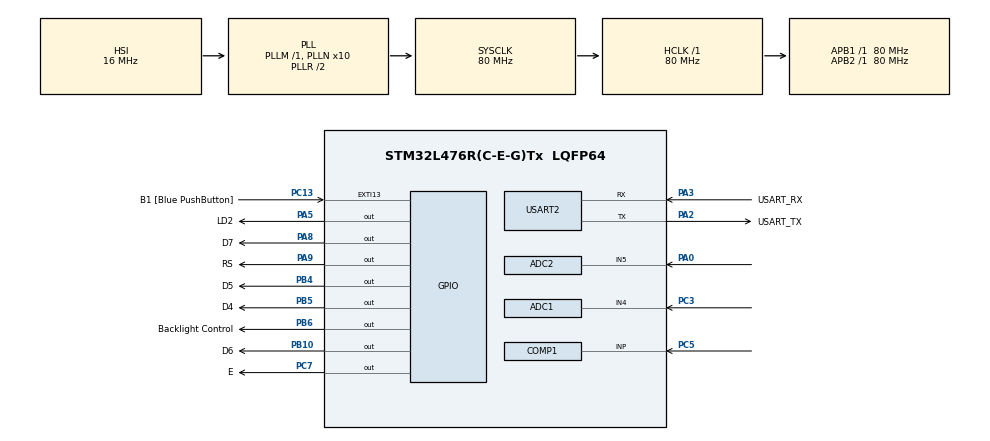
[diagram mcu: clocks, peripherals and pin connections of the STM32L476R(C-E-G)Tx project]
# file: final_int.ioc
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ADC1.Channel-6\#ChannelRegularConversion=ADC_CHANNEL_4
ADC1.ClockPrescaler=ADC_CLOCK_ASYNC_DIV64
ADC1.ContinuousConvMode=ENABLE
ADC1.DMAContinuousRequests=ENABLE
ADC1.NbrOfConversion=1
ADC1.NbrOfConversionFlag=1
ADC1.OffsetNumber-6\#ChannelRegularConversion=ADC_OFFSET_NONE
ADC1.Rank-6\#ChannelRegularConversion=1
ADC1.SamplingTime-6\#ChannelRegularConversion=ADC_SAMPLETIME_24CYCLES_5
ADC1.master=1
ADC2.Channel-0\#ChannelRegularConversion=ADC_CHANNEL_5
ADC2.ClockPrescaler=ADC_CLOCK_ASYNC_DIV64
ADC2.NbrOfConversionFlag=1
ADC2.OffsetNumber-0\#ChannelRegularConversion=ADC_OFFSET_NONE
ADC2.Rank-0\#ChannelRegularConversion=1
ADC2.SamplingTime-0\#ChannelRegularConversion=ADC_SAMPLETIME_2CYCLES_5
COMP1.Hysteresis=COMP_HYSTERESIS_HIGH
COMP1.TriggerMode=COMP_TRIGGERMODE_IT_RISING
Dma.ADC1.0.Direction=DMA_PERIPH_TO_MEMORY
Dma.ADC1.0.Instance=DMA1_Channel1
Dma.ADC1.0.MemDataAlignment=DMA_MDATAALIGN_WORD
Dma.ADC1.0.MemInc=DMA_MINC_ENABLE
Dma.ADC1.0.Mode=DMA_NORMAL
Dma.ADC1.0.PeriphDataAlignment=DMA_PDATAALIGN_WORD
Dma.ADC1.0.PeriphInc=DMA_PINC_DISABLE
Dma.ADC1.0.Priority=DMA_PRIORITY_LOW
Dma.Request0=ADC1
Mcu.Family=STM32L4
Mcu.Name=STM32L476R(C-E-G)Tx
Mcu.Package=LQFP64
NVIC.COMP_IRQn=true\:0\:0\:false\:false\:true\:false\:true\:true
NVIC.DMA1_Channel1_IRQn=true\:0\:0\:false\:false\:true\:false\:true\:true
NVIC.PriorityGroup=NVIC_PRIORITYGROUP_4
PA0.Signal=ADCx_IN5
PA13\ (JTMS-SWDIO).GPIO_Label=TMS
PA13\ (JTMS-SWDIO).Mode=Serial_Wire
PA13\ (JTMS-SWDIO).Signal=SYS_JTMS-SWDIO
PA14\ (JTCK-SWCLK).GPIO_Label=TCK
PA14\ (JTCK-SWCLK).Mode=Serial_Wire
PA14\ (JTCK-SWCLK).Signal=SYS_JTCK-SWCLK
PA2.GPIO_Label=USART_TX
PA2.GPIO_Mode=GPIO_MODE_AF_PP
PA2.GPIO_PuPd=GPIO_NOPULL
PA2.GPIO_Speed=GPIO_SPEED_FREQ_VERY_HIGH
PA2.Mode=Asynchronous
PA2.Signal=USART2_TX
PA3.GPIO_Label=USART_RX
PA3.GPIO_Mode=GPIO_MODE_AF_PP
PA3.GPIO_PuPd=GPIO_NOPULL
PA3.GPIO_Speed=GPIO_SPEED_FREQ_VERY_HIGH
PA3.Mode=Asynchronous
PA3.Signal=USART2_RX
PA5.GPIO_Label=LD2
PA5.Signal=GPIO_Output
PA8.GPIO_Label=D7
PA8.Signal=GPIO_Output
PA9.GPIO_Label=RS
PA9.Signal=GPIO_Output
PB10.GPIO_Label=D6
PB10.Signal=GPIO_Output
PB3\ (JTDO-TRACESWO).GPIO_Label=SWO
PB3\ (JTDO-TRACESWO).Signal=SYS_JTDO-SWO
PB4\ (NJTRST).GPIO_Label=D5
PB4\ (NJTRST).Signal=GPIO_Output
PB5.GPIO_Label=D4
PB5.Signal=GPIO_Output
PB6.GPIO_Label=Backlight Control
PB6.Signal=GPIO_Output
PC13.GPIO_Label=B1 [Blue PushButton]
PC13.GPIO_ModeDefaultEXTI=GPIO_MODE_IT_FALLING
PC13.GPIO_PuPd=GPIO_NOPULL
PC13.Signal=GPXTI13
PC14-OSC32_IN\ (PC14).Mode=LSE-External-Oscillator
PC14-OSC32_IN\ (PC14).Signal=RCC_OSC32_IN
PC15-OSC32_OUT\ (PC15).Mode=LSE-External-Oscillator
PC15-OSC32_OUT\ (PC15).Signal=RCC_OSC32_OUT
PC3.Signal=ADCx_IN4
PC5.Mode=INP
PC5.Signal=COMP1_INP
PC7.GPIO_Label=E
PC7.Signal=GPIO_Output
PH0-OSC_IN\ (PH0).Signal=RCC_OSC_IN
PH1-OSC_OUT\ (PH1).Signal=RCC_OSC_OUT
ProjectManager.HeapSize=0x200
ProjectManager.StackSize=0x400
ProjectManager.TargetToolchain=STM32CubeIDE
RCC.ADCFreq_Value=64000000
RCC.AHBFreq_Value=80000000
RCC.APB1Freq_Value=80000000
RCC.APB1TimFreq_Value=80000000
RCC.APB2Freq_Value=80000000
RCC.APB2TimFreq_Value=80000000
RCC.CortexFreq_Value=80000000
RCC.HCLKFreq_Value=80000000
RCC.HSE_VALUE=8000000
RCC.HSI_VALUE=16000000
RCC.MSI_VALUE=4000000
RCC.PLLN=10
RCC.PLLSourceVirtual=RCC_PLLSOURCE_HSI
RCC.PREFETCH_ENABLE=1
RCC.SYSCLKFreq_VALUE=80000000
RCC.SYSCLKSource=RCC_SYSCLKSOURCE_PLLCLK
RCC.USBFreq_Value=64000000
RCC.VCOOutputFreq_Value=160000000
SH.ADCx_IN4.0=ADC1_IN4,IN4-Single-Ended
SH.ADCx_IN5.0=ADC2_IN5,IN5-Single-Ended
TIM16.Period=65535-1
TIM16.Prescaler=80-1
USART2.VirtualMode-Asynchronous=VM_ASYNC
VP_COMP1_VS_VREFINT14.Mode=VREFINT_14
VP_TIM16_VS_ClockSourceINT.Mode=Enable_Timer
board=NUCLEO-L476RG

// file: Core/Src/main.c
/* USER CODE BEGIN Header */
/**
  ******************************************************************************
  * @file           : main.c
  * @brief          : Main program body
  ******************************************************************************
  * @attention
  *
  * Copyright (c) 2024 STMicroelectronics.
  * All rights reserved.
  *
  * This software is licensed under terms that can be found in the LICENSE file
  * in the root directory of this software component.
  * If no LICENSE file comes with this software, it is provided AS-IS.
  *
  ******************************************************************************
  */
/* USER CODE END Header */
#include "main.h"

/* USER CODE BEGIN Includes */
#include "FFT.h"
#include "lcd16x2_v2.h"
#include <stdio.h>
#include <string.h>
/* USER CODE END Includes */

/* USER CODE BEGIN PD */
#define ADC_BUF_LEN 4096
/* USER CODE END PD */

ADC_HandleTypeDef hadc1;
ADC_HandleTypeDef hadc2;
DMA_HandleTypeDef hdma_adc1;

COMP_HandleTypeDef hcomp1;

TIM_HandleTypeDef htim16;

UART_HandleTypeDef huart2;

/* USER CODE BEGIN PV */
uint32_t val=0;
uint32_t adc_buf[ADC_BUF_LEN];
int flag=0, comp=0, modeflag=0, lcdflag=0;
volatile uint32_t timer_val = 0;
volatile float period = 0;
volatile uint8_t first_capture = 1;
char msg3[50];
float compfreq, compvel;
float fw=10250000000, veloms=0;
/* USER CODE END PV */

void SystemClock_Config(void);
void PeriphCommonClock_Config(void);
static void MX_GPIO_Init(void);
static void MX_DMA_Init(void);
static void MX_USART2_UART_Init(void);
static void MX_ADC1_Init(void);
static void MX_ADC2_Init(void);
static void MX_COMP1_Init(void);
static void MX_TIM16_Init(void);

int main(void)
{

  /* MCU Configuration--------------------------------------------------------*/

  /* Reset of all peripherals, Initializes the Flash interface and the Systick. */
  HAL_Init();

  /* Configure the system clock */
  SystemClock_Config();

  /* Configure the peripherals common clocks */
  PeriphCommonClock_Config();

  /* Initialize all configured peripherals */
  MX_GPIO_Init();
  MX_DMA_Init();
  MX_USART2_UART_Init();
  MX_ADC1_Init();
  MX_ADC2_Init();
  MX_COMP1_Init();
  MX_TIM16_Init();
  /* USER CODE BEGIN 2 */
  //declaring struct for fft
  struct ADC_param ADC_val={0};
  struct FFT_res FFT_val={0};

  //parameter setting
  ADC_val.bit=12;
  ADC_val.prescaler=64;
  ADC_val.sampling_time=24.5;
  ADC_val.speed=64000000;					//clock speed on .ioc file
  ADC_val.adc_buf_len=4096;				//buffer length
  ADC_val.adc_buf=adc_buf;				//store the value of buffer array pointer

  //starting adc through dma for adc1
  HAL_ADC_Start_DMA(&hadc1, (uint32_t*)adc_buf,4096);

  //start timer for comparator and start comparator
  HAL_TIM_Base_Start(&htim16);
  HAL_COMP_Start(&hcomp1);

  //initializing lcd
  lcd16x2_init_4bits(GPIOA, RS_Pin, GPIOC, E_Pin,
  //      D0_GPIO_Port, D0_Pin, D1_Pin, D2_Pin, D3_Pin,
        GPIOB, D4_Pin, GPIOB, D5_Pin, GPIOB, D6_Pin, GPIOA, D7_Pin);

  //setting backlight of lcd to high
    HAL_GPIO_WritePin(Backlight_Control_GPIO_Port, Backlight_Control_Pin, GPIO_PIN_SET);
  /* USER CODE END 2 */

  /* Infinite loop */
  /* USER CODE BEGIN WHILE */
  while (1)
  {
	  if (flag){
		  veloms=0;//reset velocity to 0
		  start_FFT(&flag,&ADC_val,&FFT_val);//do fft using the value from doing adc
		  get_velocity(FFT_val.fdominant,fw,&veloms);//get the velocity of input signal

		 HAL_ADC_Start(&hadc2);//initialize adc2
		 HAL_ADC_PollForConversion(&hadc2,HAL_MAX_DELAY);//get value of adc2
		 val=HAL_ADC_GetValue(&hadc2);//assigning value

		 //checking if any button is pressed and changing mode accordingly
		 if(val>10&&val<20){modeflag=1;}//right
		 else if (val>3350&&val<3365){modeflag=2;}//down
		 else if (val>2900&&val<2910){modeflag=3;}//up
		 else if (val>3750&&val<3760){modeflag=4;}//left
		 else if (val>4050&&val<4060){modeflag=5;}//select

		 //printing to lcd with reference to what mode it should be in
		 //current available mode, m/s adc(right), km/h adc(down), mph adc(up), m/s comp(left), mph comp(select)
		 if(modeflag==1&&lcdflag==0){//m/s adc
		 	lcd16x2_priv(veloms,FFT_val.fdominant,"m/s");

		 //deciding which mode to print on lcd
		} else if(modeflag==2&&lcdflag==0){//km/h adc
			float velokmh=veloms*3.6;
			lcd16x2_priv(velokmh,FFT_val.fdominant,"km/h");

		} else if(modeflag==3&&lcdflag==0){//mph adc
			float velomph=veloms*2.237;
			lcd16x2_priv(velomph,FFT_val.fdominant,"mph");

		} else if(modeflag==4&&lcdflag==0){//ms comp
			lcd16x2_priv(compvel,compfreq,"M/S");

		} else if(modeflag==5&&lcdflag==0){//mph comp
			float compvelmph=compvel*2.237;
			lcd16x2_priv(compvelmph,compfreq,"MPH");
		}

	  }
	  	  	  //restart dma after everything is done
		 	 HAL_ADC_Start_DMA(&hadc1, (uint32_t*)adc_buf,ADC_val.adc_buf_len);

    /* USER CODE END WHILE */

    /* USER CODE BEGIN 3 */
		 //iterate for lcd to only update it every 10 cycle to reduce load
		 lcdflag+=1;
		 if(lcdflag==10){lcdflag=0;}
  }
  /* USER CODE END 3 */
}

void SystemClock_Config(void)
{
  RCC_OscInitTypeDef RCC_OscInitStruct = {0};
  RCC_ClkInitTypeDef RCC_ClkInitStruct = {0};

  /** Configure the main internal regulator output voltage
  */
  if (HAL_PWREx_ControlVoltageScaling(PWR_REGULATOR_VOLTAGE_SCALE1) != HAL_OK)
  {
    Error_Handler();
  }

  /** Initializes the RCC Oscillators according to the specified parameters
  * in the RCC_OscInitTypeDef structure.
  */
  RCC_OscInitStruct.OscillatorType = RCC_OSCILLATORTYPE_HSI;
  RCC_OscInitStruct.HSIState = RCC_HSI_ON;
  RCC_OscInitStruct.HSICalibrationValue = RCC_HSICALIBRATION_DEFAULT;
  RCC_OscInitStruct.PLL.PLLState = RCC_PLL_ON;
  RCC_OscInitStruct.PLL.PLLSource = RCC_PLLSOURCE_HSI;
  RCC_OscInitStruct.PLL.PLLM = 1;
  RCC_OscInitStruct.PLL.PLLN = 10;
  RCC_OscInitStruct.PLL.PLLP = RCC_PLLP_DIV7;
  RCC_OscInitStruct.PLL.PLLQ = RCC_PLLQ_DIV2;
  RCC_OscInitStruct.PLL.PLLR = RCC_PLLR_DIV2;
  if (HAL_RCC_OscConfig(&RCC_OscInitStruct) != HAL_OK)
  {
    Error_Handler();
  }

  /** Initializes the CPU, AHB and APB buses clocks
  */
  RCC_ClkInitStruct.ClockType = RCC_CLOCKTYPE_HCLK|RCC_CLOCKTYPE_SYSCLK
                              |RCC_CLOCKTYPE_PCLK1|RCC_CLOCKTYPE_PCLK2;
  RCC_ClkInitStruct.SYSCLKSource = RCC_SYSCLKSOURCE_PLLCLK;
  RCC_ClkInitStruct.AHBCLKDivider = RCC_SYSCLK_DIV1;
  RCC_ClkInitStruct.APB1CLKDivider = RCC_HCLK_DIV1;
  RCC_ClkInitStruct.APB2CLKDivider = RCC_HCLK_DIV1;

  if (HAL_RCC_ClockConfig(&RCC_ClkInitStruct, FLASH_LATENCY_4) != HAL_OK)
  {
    Error_Handler();
  }
}

void PeriphCommonClock_Config(void)
{
  RCC_PeriphCLKInitTypeDef PeriphClkInit = {0};

  /** Initializes the peripherals clock
  */
  PeriphClkInit.PeriphClockSelection = RCC_PERIPHCLK_ADC;
  PeriphClkInit.AdcClockSelection = RCC_ADCCLKSOURCE_PLLSAI1;
  PeriphClkInit.PLLSAI1.PLLSAI1Source = RCC_PLLSOURCE_HSI;
  PeriphClkInit.PLLSAI1.PLLSAI1M = 1;
  PeriphClkInit.PLLSAI1.PLLSAI1N = 8;
  PeriphClkInit.PLLSAI1.PLLSAI1P = RCC_PLLP_DIV7;
  PeriphClkInit.PLLSAI1.PLLSAI1Q = RCC_PLLQ_DIV2;
  PeriphClkInit.PLLSAI1.PLLSAI1R = RCC_PLLR_DIV2;
  PeriphClkInit.PLLSAI1.PLLSAI1ClockOut = RCC_PLLSAI1_ADC1CLK;
  if (HAL_RCCEx_PeriphCLKConfig(&PeriphClkInit) != HAL_OK)
  {
    Error_Handler();
  }
}

static void MX_ADC1_Init(void)
{

  ADC_MultiModeTypeDef multimode = {0};
  ADC_ChannelConfTypeDef sConfig = {0};

  /** Common config
  */
  hadc1.Instance = ADC1;
  hadc1.Init.ClockPrescaler = ADC_CLOCK_ASYNC_DIV64;
  hadc1.Init.Resolution = ADC_RESOLUTION_12B;
  hadc1.Init.DataAlign = ADC_DATAALIGN_RIGHT;
  hadc1.Init.ScanConvMode = ADC_SCAN_DISABLE;
  hadc1.Init.EOCSelection = ADC_EOC_SINGLE_CONV;
  hadc1.Init.LowPowerAutoWait = DISABLE;
  hadc1.Init.ContinuousConvMode = ENABLE;
  hadc1.Init.NbrOfConversion = 1;
  hadc1.Init.DiscontinuousConvMode = DISABLE;
  hadc1.Init.ExternalTrigConv = ADC_SOFTWARE_START;
  hadc1.Init.ExternalTrigConvEdge = ADC_EXTERNALTRIGCONVEDGE_NONE;
  hadc1.Init.DMAContinuousRequests = ENABLE;
  hadc1.Init.Overrun = ADC_OVR_DATA_PRESERVED;
  hadc1.Init.OversamplingMode = DISABLE;
  if (HAL_ADC_Init(&hadc1) != HAL_OK)
  {
    Error_Handler();
  }

  /** Configure the ADC multi-mode
  */
  multimode.Mode = ADC_MODE_INDEPENDENT;
  if (HAL_ADCEx_MultiModeConfigChannel(&hadc1, &multimode) != HAL_OK)
  {
    Error_Handler();
  }

  /** Configure Regular Channel
  */
  sConfig.Channel = ADC_CHANNEL_4;
  sConfig.Rank = ADC_REGULAR_RANK_1;
  sConfig.SamplingTime = ADC_SAMPLETIME_24CYCLES_5;
  sConfig.SingleDiff = ADC_SINGLE_ENDED;
  sConfig.OffsetNumber = ADC_OFFSET_NONE;
  sConfig.Offset = 0;
  if (HAL_ADC_ConfigChannel(&hadc1, &sConfig) != HAL_OK)
  {
    Error_Handler();
  }

}

static void MX_ADC2_Init(void)
{

  ADC_ChannelConfTypeDef sConfig = {0};

  /** Common config
  */
  hadc2.Instance = ADC2;
  hadc2.Init.ClockPrescaler = ADC_CLOCK_ASYNC_DIV64;
  hadc2.Init.Resolution = ADC_RESOLUTION_12B;
  hadc2.Init.DataAlign = ADC_DATAALIGN_RIGHT;
  hadc2.Init.ScanConvMode = ADC_SCAN_DISABLE;
  hadc2.Init.EOCSelection = ADC_EOC_SINGLE_CONV;
  hadc2.Init.LowPowerAutoWait = DISABLE;
  hadc2.Init.ContinuousConvMode = DISABLE;
  hadc2.Init.NbrOfConversion = 1;
  hadc2.Init.DiscontinuousConvMode = DISABLE;
  hadc2.Init.ExternalTrigConv = ADC_SOFTWARE_START;
  hadc2.Init.ExternalTrigConvEdge = ADC_EXTERNALTRIGCONVEDGE_NONE;
  hadc2.Init.DMAContinuousRequests = DISABLE;
  hadc2.Init.Overrun = ADC_OVR_DATA_PRESERVED;
  hadc2.Init.OversamplingMode = DISABLE;
  if (HAL_ADC_Init(&hadc2) != HAL_OK)
  {
    Error_Handler();
  }

  /** Configure Regular Channel
  */
  sConfig.Channel = ADC_CHANNEL_5;
  sConfig.Rank = ADC_REGULAR_RANK_1;
  sConfig.SamplingTime = ADC_SAMPLETIME_2CYCLES_5;
  sConfig.SingleDiff = ADC_SINGLE_ENDED;
  sConfig.OffsetNumber = ADC_OFFSET_NONE;
  sConfig.Offset = 0;
  if (HAL_ADC_ConfigChannel(&hadc2, &sConfig) != HAL_OK)
  {
    Error_Handler();
  }

}

static void MX_COMP1_Init(void)
{

  hcomp1.Instance = COMP1;
  hcomp1.Init.InvertingInput = COMP_INPUT_MINUS_1_4VREFINT;
  hcomp1.Init.NonInvertingInput = COMP_INPUT_PLUS_IO1;
  hcomp1.Init.OutputPol = COMP_OUTPUTPOL_NONINVERTED;
  hcomp1.Init.Hysteresis = COMP_HYSTERESIS_HIGH;
  hcomp1.Init.BlankingSrce = COMP_BLANKINGSRC_NONE;
  hcomp1.Init.Mode = COMP_POWERMODE_HIGHSPEED;
  hcomp1.Init.WindowMode = COMP_WINDOWMODE_DISABLE;
  hcomp1.Init.TriggerMode = COMP_TRIGGERMODE_IT_RISING;
  if (HAL_COMP_Init(&hcomp1) != HAL_OK)
  {
    Error_Handler();
  }

}

static void MX_TIM16_Init(void)
{

  htim16.Instance = TIM16;
  htim16.Init.Prescaler = 80-1;
  htim16.Init.CounterMode = TIM_COUNTERMODE_UP;
  htim16.Init.Period = 65535-1;
  htim16.Init.ClockDivision = TIM_CLOCKDIVISION_DIV1;
  htim16.Init.RepetitionCounter = 0;
  htim16.Init.AutoReloadPreload = TIM_AUTORELOAD_PRELOAD_DISABLE;
  if (HAL_TIM_Base_Init(&htim16) != HAL_OK)
  {
    Error_Handler();
  }

}

static void MX_USART2_UART_Init(void)
{

  huart2.Instance = USART2;
  huart2.Init.BaudRate = 115200;
  huart2.Init.WordLength = UART_WORDLENGTH_8B;
  huart2.Init.StopBits = UART_STOPBITS_1;
  huart2.Init.Parity = UART_PARITY_NONE;
  huart2.Init.Mode = UART_MODE_TX_RX;
  huart2.Init.HwFlowCtl = UART_HWCONTROL_NONE;
  huart2.Init.OverSampling = UART_OVERSAMPLING_16;
  huart2.Init.OneBitSampling = UART_ONE_BIT_SAMPLE_DISABLE;
  huart2.AdvancedInit.AdvFeatureInit = UART_ADVFEATURE_NO_INIT;
  if (HAL_UART_Init(&huart2) != HAL_OK)
  {
    Error_Handler();
  }

}

static void MX_DMA_Init(void)
{

  /* DMA controller clock enable */
  __HAL_RCC_DMA1_CLK_ENABLE();

  /* DMA interrupt init */
  /* DMA1_Channel1_IRQn interrupt configuration */
  HAL_NVIC_SetPriority(DMA1_Channel1_IRQn, 0, 0);
  HAL_NVIC_EnableIRQ(DMA1_Channel1_IRQn);

}

static void MX_GPIO_Init(void)
{
  GPIO_InitTypeDef GPIO_InitStruct = {0};

  /* GPIO Ports Clock Enable */
  __HAL_RCC_GPIOC_CLK_ENABLE();
  __HAL_RCC_GPIOH_CLK_ENABLE();
  __HAL_RCC_GPIOA_CLK_ENABLE();
  __HAL_RCC_GPIOB_CLK_ENABLE();

  /*Configure GPIO pin Output Level */
  HAL_GPIO_WritePin(GPIOA, LD2_Pin|D7_Pin|RS_Pin, GPIO_PIN_RESET);

  /*Configure GPIO pin Output Level */
  HAL_GPIO_WritePin(GPIOB, D6_Pin|D5_Pin|D4_Pin|Backlight_Control_Pin, GPIO_PIN_RESET);

  /*Configure GPIO pin Output Level */
  HAL_GPIO_WritePin(E_GPIO_Port, E_Pin, GPIO_PIN_RESET);

  /*Configure GPIO pin : B1_Pin */
  GPIO_InitStruct.Pin = B1_Pin;
  GPIO_InitStruct.Mode = GPIO_MODE_IT_FALLING;
  GPIO_InitStruct.Pull = GPIO_NOPULL;
  HAL_GPIO_Init(B1_GPIO_Port, &GPIO_InitStruct);

  /*Configure GPIO pins : LD2_Pin D7_Pin RS_Pin */
  GPIO_InitStruct.Pin = LD2_Pin|D7_Pin|RS_Pin;
  GPIO_InitStruct.Mode = GPIO_MODE_OUTPUT_PP;
  GPIO_InitStruct.Pull = GPIO_NOPULL;
  GPIO_InitStruct.Speed = GPIO_SPEED_FREQ_LOW;
  HAL_GPIO_Init(GPIOA, &GPIO_InitStruct);

  /*Configure GPIO pins : D6_Pin D5_Pin D4_Pin Backlight_Control_Pin */
  GPIO_InitStruct.Pin = D6_Pin|D5_Pin|D4_Pin|Backlight_Control_Pin;
  GPIO_InitStruct.Mode = GPIO_MODE_OUTPUT_PP;
  GPIO_InitStruct.Pull = GPIO_NOPULL;
  GPIO_InitStruct.Speed = GPIO_SPEED_FREQ_LOW;
  HAL_GPIO_Init(GPIOB, &GPIO_InitStruct);

  /*Configure GPIO pin : E_Pin */
  GPIO_InitStruct.Pin = E_Pin;
  GPIO_InitStruct.Mode = GPIO_MODE_OUTPUT_PP;
  GPIO_InitStruct.Pull = GPIO_NOPULL;
  GPIO_InitStruct.Speed = GPIO_SPEED_FREQ_LOW;
  HAL_GPIO_Init(E_GPIO_Port, &GPIO_InitStruct);

}

/* USER CODE BEGIN 4 */

void HAL_ADC_ConvCpltCallback(ADC_HandleTypeDef* hadc){
	//callback function for when dma is fully filled
	flag=1;
	HAL_ADC_Stop_DMA(&hadc1);
}

void HAL_COMP_TriggerCallback(COMP_HandleTypeDef *hcomp){
   if (hcomp->Instance == COMP1)
   {
       uint32_t current_time = __HAL_TIM_GET_COUNTER(&htim16);

       if (first_capture)
       {
           // First rising edge detected, capture timestamp
           timer_val = current_time;
           first_capture = 0; // Set flag indicating we have our first timestamp
       }
       else
       {
           // Second rising edge detected, calculate period
           period = current_time - timer_val;
           compfreq = 1.0/(period*0.000001);
           compvel = 0.5*(300000000)*(compfreq/fw);
           comp = 1;
           // Update timer_val to the latest timestamp for the next period calculation
           timer_val = current_time;
       }
   }
}
/* USER CODE END 4 */

void Error_Handler(void)
{
  __disable_irq();
  while (1)
  {
  }
}
